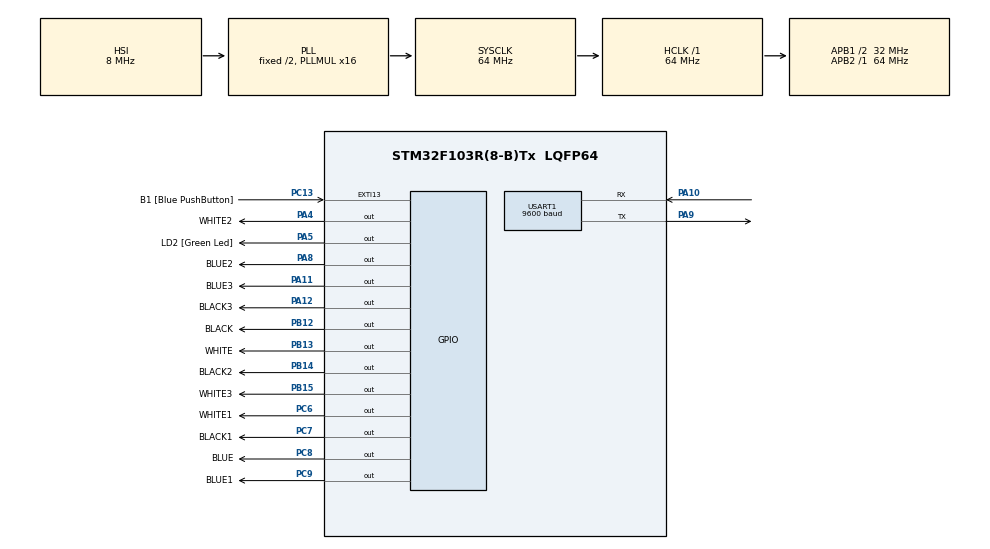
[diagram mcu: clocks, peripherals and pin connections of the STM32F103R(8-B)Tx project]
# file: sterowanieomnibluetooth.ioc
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Mcu.Family=STM32F1
Mcu.Name=STM32F103R(8-B)Tx
Mcu.Package=LQFP64
NVIC.EXTI15_10_IRQn=true\:0\:0\:false\:false\:true\:true\:true\:true
NVIC.PriorityGroup=NVIC_PRIORITYGROUP_4
NVIC.USART1_IRQn=true\:0\:0\:false\:false\:true\:true\:true\:true
PA10.Mode=Asynchronous
PA10.Signal=USART1_RX
PA11.GPIO_Label=BLUE3
PA11.Signal=GPIO_Output
PA12.GPIO_Label=BLACK3
PA12.GPIO_Speed=GPIO_SPEED_FREQ_HIGH
PA12.Signal=GPIO_Output
PA13.GPIO_Label=TMS
PA13.Mode=Serial_Wire
PA13.Signal=SYS_JTMS-SWDIO
PA14.GPIO_Label=TCK
PA14.Mode=Serial_Wire
PA14.Signal=SYS_JTCK-SWCLK
PA4.GPIO_Label=WHITE2
PA4.PinState=GPIO_PIN_SET
PA4.Signal=GPIO_Output
PA5.GPIO_Label=LD2 [Green Led]
PA5.GPIO_ModeDefaultOutputPP=GPIO_MODE_OUTPUT_PP
PA5.GPIO_PuPd=GPIO_NOPULL
PA5.GPIO_Speed=GPIO_SPEED_FREQ_LOW
PA5.Signal=GPIO_Output
PA8.GPIO_Label=BLUE2
PA8.GPIO_Speed=GPIO_SPEED_FREQ_HIGH
PA8.PinState=GPIO_PIN_RESET
PA8.Signal=GPIO_Output
PA9.Mode=Asynchronous
PA9.Signal=USART1_TX
PB12.GPIO_Label=BLACK
PB12.GPIO_Speed=GPIO_SPEED_FREQ_HIGH
PB12.Signal=GPIO_Output
PB13.GPIO_Label=WHITE
PB13.GPIO_Speed=GPIO_SPEED_FREQ_HIGH
PB13.PinState=GPIO_PIN_SET
PB13.Signal=GPIO_Output
PB14.GPIO_Label=BLACK2
PB14.GPIO_Speed=GPIO_SPEED_FREQ_HIGH
PB14.Signal=GPIO_Output
PB15.GPIO_Label=WHITE3
PB15.GPIO_Speed=GPIO_SPEED_FREQ_HIGH
PB15.PinState=GPIO_PIN_SET
PB15.Signal=GPIO_Output
PB3.GPIO_Label=SWO
PB3.Signal=SYS_JTDO-TRACESWO
PC13-TAMPER-RTC.GPIO_Label=B1 [Blue PushButton]
PC13-TAMPER-RTC.GPIO_PuPd=GPIO_NOPULL
PC13-TAMPER-RTC.Signal=GPXTI13
PC14-OSC32_IN.Mode=LSE-External-Oscillator
PC14-OSC32_IN.Signal=RCC_OSC32_IN
PC15-OSC32_OUT.Mode=LSE-External-Oscillator
PC15-OSC32_OUT.Signal=RCC_OSC32_OUT
PC6.GPIO_Label=WHITE1
PC6.GPIO_Speed=GPIO_SPEED_FREQ_HIGH
PC6.PinState=GPIO_PIN_SET
PC6.Signal=GPIO_Output
PC7.GPIO_Label=BLACK1
PC7.GPIO_Speed=GPIO_SPEED_FREQ_HIGH
PC7.PinState=GPIO_PIN_RESET
PC7.Signal=GPIO_Output
PC8.GPIO_Label=BLUE
PC8.GPIO_Speed=GPIO_SPEED_FREQ_HIGH
PC8.Signal=GPIO_Output
PC9.GPIO_Label=BLUE1
PC9.GPIO_Speed=GPIO_SPEED_FREQ_HIGH
PC9.PinState=GPIO_PIN_SET
PC9.Signal=GPIO_Output
PD0-OSC_IN.Mode=HSE-External-Clock-Source
PD0-OSC_IN.Signal=RCC_OSC_IN
PD1-OSC_OUT.Mode=HSE-External-Clock-Source
PD1-OSC_OUT.Signal=RCC_OSC_OUT
ProjectManager.HeapSize=0x200
ProjectManager.StackSize=0x400
ProjectManager.TargetToolchain=STM32CubeIDE
RCC.AHBFreq_Value=64000000
RCC.APB1CLKDivider=RCC_HCLK_DIV2
RCC.APB1Freq_Value=32000000
RCC.APB1TimFreq_Value=64000000
RCC.APB2Freq_Value=64000000
RCC.APB2TimFreq_Value=64000000
RCC.HCLKFreq_Value=64000000
RCC.PLLMUL=RCC_PLL_MUL16
RCC.RTCClockSelection=RCC_RTCCLKSOURCE_LSE
RCC.SYSCLKFreq_VALUE=64000000
RCC.SYSCLKSource=RCC_SYSCLKSOURCE_PLLCLK
RCC.USBFreq_Value=64000000
USART1.BaudRate=9600
USART1.VirtualMode=VM_ASYNC
board=NUCLEO-F103RB

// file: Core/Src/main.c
/* USER CODE BEGIN Header */
/**
  ******************************************************************************
  * @file           : main.c
  * @brief          : Main program body
  ******************************************************************************
  * @attention
  *
  * Copyright (c) 2023 STMicroelectronics.
  * All rights reserved.
  *
  * This software is licensed under terms that can be found in the LICENSE file
  * in the root directory of this software component.
  * If no LICENSE file comes with this software, it is provided AS-IS.
  *
  ******************************************************************************
  */
/* USER CODE END Header */
#include "main.h"

UART_HandleTypeDef huart1;

/* USER CODE BEGIN PV */
uint8_t rxData;
/* USER CODE END PV */

void SystemClock_Config(void);
static void MX_GPIO_Init(void);
static void MX_USART1_UART_Init(void);

int main(void)
{

  /* MCU Configuration--------------------------------------------------------*/

  /* Reset of all peripherals, Initializes the Flash interface and the Systick. */
  HAL_Init();

  /* Configure the system clock */
  SystemClock_Config();

  /* Initialize all configured peripherals */
  MX_GPIO_Init();
  MX_USART1_UART_Init();
  /* USER CODE BEGIN 2 */
  HAL_UART_Receive_IT(&huart1,&rxData,1); // Enabling interrupt receive
  /* USER CODE END 2 */

  /* Infinite loop */
  /* USER CODE BEGIN WHILE */
  while (1)
  {
	 // HAL_GPIO_WritePin(LD2_GPIO_Port, LD2_Pin, GPIO_PIN_SET);
	 // HAL_Delay(300);
	  //HAL_GPIO_WritePin(LD2_GPIO_Port, LD2_Pin, GPIO_PIN_RESET);
	  //HAL_Delay(300);

    /* USER CODE END WHILE */

  }
}

void SystemClock_Config(void)
{
  RCC_OscInitTypeDef RCC_OscInitStruct = {0};
  RCC_ClkInitTypeDef RCC_ClkInitStruct = {0};

  /** Initializes the RCC Oscillators according to the specified parameters
  * in the RCC_OscInitTypeDef structure.
  */
  RCC_OscInitStruct.OscillatorType = RCC_OSCILLATORTYPE_HSI;
  RCC_OscInitStruct.HSIState = RCC_HSI_ON;
  RCC_OscInitStruct.HSICalibrationValue = RCC_HSICALIBRATION_DEFAULT;
  RCC_OscInitStruct.PLL.PLLState = RCC_PLL_ON;
  RCC_OscInitStruct.PLL.PLLSource = RCC_PLLSOURCE_HSI_DIV2;
  RCC_OscInitStruct.PLL.PLLMUL = RCC_PLL_MUL16;
  if (HAL_RCC_OscConfig(&RCC_OscInitStruct) != HAL_OK)
  {
    Error_Handler();
  }

  /** Initializes the CPU, AHB and APB buses clocks
  */
  RCC_ClkInitStruct.ClockType = RCC_CLOCKTYPE_HCLK|RCC_CLOCKTYPE_SYSCLK
                              |RCC_CLOCKTYPE_PCLK1|RCC_CLOCKTYPE_PCLK2;
  RCC_ClkInitStruct.SYSCLKSource = RCC_SYSCLKSOURCE_PLLCLK;
  RCC_ClkInitStruct.AHBCLKDivider = RCC_SYSCLK_DIV1;
  RCC_ClkInitStruct.APB1CLKDivider = RCC_HCLK_DIV2;
  RCC_ClkInitStruct.APB2CLKDivider = RCC_HCLK_DIV1;

  if (HAL_RCC_ClockConfig(&RCC_ClkInitStruct, FLASH_LATENCY_2) != HAL_OK)
  {
    Error_Handler();
  }
}

static void MX_USART1_UART_Init(void)
{

  huart1.Instance = USART1;
  huart1.Init.BaudRate = 9600;
  huart1.Init.WordLength = UART_WORDLENGTH_8B;
  huart1.Init.StopBits = UART_STOPBITS_1;
  huart1.Init.Parity = UART_PARITY_NONE;
  huart1.Init.Mode = UART_MODE_TX_RX;
  huart1.Init.HwFlowCtl = UART_HWCONTROL_NONE;
  huart1.Init.OverSampling = UART_OVERSAMPLING_16;
  if (HAL_UART_Init(&huart1) != HAL_OK)
  {
    Error_Handler();
  }

}

static void MX_GPIO_Init(void)
{
  GPIO_InitTypeDef GPIO_InitStruct = {0};

  /* GPIO Ports Clock Enable */
  __HAL_RCC_GPIOC_CLK_ENABLE();
  __HAL_RCC_GPIOD_CLK_ENABLE();
  __HAL_RCC_GPIOA_CLK_ENABLE();
  __HAL_RCC_GPIOB_CLK_ENABLE();

  /*Configure GPIO pin Output Level */
  HAL_GPIO_WritePin(WHITE2_GPIO_Port, WHITE2_Pin, GPIO_PIN_SET);

  /*Configure GPIO pin Output Level */
  HAL_GPIO_WritePin(GPIOA, LD2_Pin|BLUE2_Pin|BLUE3_Pin|BLACK3_Pin, GPIO_PIN_RESET);

  /*Configure GPIO pin Output Level */
  HAL_GPIO_WritePin(GPIOB, BLACK_Pin|BLACK2_Pin, GPIO_PIN_RESET);

  /*Configure GPIO pin Output Level */
  HAL_GPIO_WritePin(GPIOB, WHITE_Pin|WHITE3_Pin, GPIO_PIN_SET);

  /*Configure GPIO pin Output Level */
  HAL_GPIO_WritePin(GPIOC, WHITE1_Pin|BLUE1_Pin, GPIO_PIN_SET);

  /*Configure GPIO pin Output Level */
  HAL_GPIO_WritePin(GPIOC, BLACK1_Pin|BLUE_Pin, GPIO_PIN_RESET);

  /*Configure GPIO pin : B1_Pin */
  GPIO_InitStruct.Pin = B1_Pin;
  GPIO_InitStruct.Mode = GPIO_MODE_IT_RISING;
  GPIO_InitStruct.Pull = GPIO_NOPULL;
  HAL_GPIO_Init(B1_GPIO_Port, &GPIO_InitStruct);

  /*Configure GPIO pins : WHITE2_Pin LD2_Pin BLUE3_Pin */
  GPIO_InitStruct.Pin = WHITE2_Pin|LD2_Pin|BLUE3_Pin;
  GPIO_InitStruct.Mode = GPIO_MODE_OUTPUT_PP;
  GPIO_InitStruct.Pull = GPIO_NOPULL;
  GPIO_InitStruct.Speed = GPIO_SPEED_FREQ_LOW;
  HAL_GPIO_Init(GPIOA, &GPIO_InitStruct);

  /*Configure GPIO pins : BLACK_Pin WHITE_Pin BLACK2_Pin WHITE3_Pin */
  GPIO_InitStruct.Pin = BLACK_Pin|WHITE_Pin|BLACK2_Pin|WHITE3_Pin;
  GPIO_InitStruct.Mode = GPIO_MODE_OUTPUT_PP;
  GPIO_InitStruct.Pull = GPIO_NOPULL;
  GPIO_InitStruct.Speed = GPIO_SPEED_FREQ_HIGH;
  HAL_GPIO_Init(GPIOB, &GPIO_InitStruct);

  /*Configure GPIO pins : WHITE1_Pin BLACK1_Pin BLUE_Pin BLUE1_Pin */
  GPIO_InitStruct.Pin = WHITE1_Pin|BLACK1_Pin|BLUE_Pin|BLUE1_Pin;
  GPIO_InitStruct.Mode = GPIO_MODE_OUTPUT_PP;
  GPIO_InitStruct.Pull = GPIO_NOPULL;
  GPIO_InitStruct.Speed = GPIO_SPEED_FREQ_HIGH;
  HAL_GPIO_Init(GPIOC, &GPIO_InitStruct);

  /*Configure GPIO pins : BLUE2_Pin BLACK3_Pin */
  GPIO_InitStruct.Pin = BLUE2_Pin|BLACK3_Pin;
  GPIO_InitStruct.Mode = GPIO_MODE_OUTPUT_PP;
  GPIO_InitStruct.Pull = GPIO_NOPULL;
  GPIO_InitStruct.Speed = GPIO_SPEED_FREQ_HIGH;
  HAL_GPIO_Init(GPIOA, &GPIO_InitStruct);

  /* EXTI interrupt init*/
  HAL_NVIC_SetPriority(EXTI15_10_IRQn, 0, 0);
  HAL_NVIC_EnableIRQ(EXTI15_10_IRQn);

}

/* USER CODE BEGIN 4 */
void HAL_UART_RxCpltCallback(UART_HandleTypeDef *huart)
{
  if(huart->Instance==USART1)
  {
    if(rxData==78) // Ascii value of 'N' is 78 BACKRIDE
    {
// front ride
  	  HAL_GPIO_WritePin(BLACK_GPIO_Port, BLACK_Pin, GPIO_PIN_SET);
  	  HAL_GPIO_WritePin(BLUE_GPIO_Port, BLUE_Pin, GPIO_PIN_RESET);
  	HAL_GPIO_WritePin(BLACK1_GPIO_Port, BLACK1_Pin, GPIO_PIN_RESET);
    HAL_GPIO_WritePin(BLUE1_GPIO_Port, BLUE1_Pin, GPIO_PIN_SET);
    HAL_GPIO_WritePin(BLACK2_GPIO_Port, BLACK2_Pin, GPIO_PIN_SET);
      	  HAL_GPIO_WritePin(BLUE2_GPIO_Port, BLUE2_Pin, GPIO_PIN_RESET);
      	HAL_GPIO_WritePin(BLACK3_GPIO_Port, BLACK3_Pin, GPIO_PIN_SET);
        HAL_GPIO_WritePin(BLUE3_GPIO_Port, BLUE3_Pin, GPIO_PIN_RESET);

    }
    else if (rxData==89) // Ascii value of 'Y' is 89 FRONTRIDE
    {//
    	HAL_GPIO_WritePin(BLACK_GPIO_Port, BLACK_Pin, GPIO_PIN_RESET);
    	HAL_GPIO_WritePin(BLUE_GPIO_Port, BLUE_Pin, GPIO_PIN_SET);
    	HAL_GPIO_WritePin(BLACK1_GPIO_Port, BLACK1_Pin, GPIO_PIN_SET);
    	HAL_GPIO_WritePin(BLUE1_GPIO_Port, BLUE1_Pin, GPIO_PIN_RESET);
    	HAL_GPIO_WritePin(BLACK2_GPIO_Port, BLACK2_Pin, GPIO_PIN_RESET);
    	HAL_GPIO_WritePin(BLUE2_GPIO_Port, BLUE2_Pin, GPIO_PIN_SET);
    	HAL_GPIO_WritePin(BLACK3_GPIO_Port, BLACK3_Pin, GPIO_PIN_RESET);
    	HAL_GPIO_WritePin(BLUE3_GPIO_Port, BLUE3_Pin, GPIO_PIN_SET);
    }
    else if (rxData==82) // Ascii value of 'R' is 82 RIGHTRIDE
        {//
        	HAL_GPIO_WritePin(BLACK_GPIO_Port, BLACK_Pin, GPIO_PIN_SET);
        	HAL_GPIO_WritePin(BLUE_GPIO_Port, BLUE_Pin, GPIO_PIN_RESET);
        	HAL_GPIO_WritePin(BLACK1_GPIO_Port, BLACK1_Pin, GPIO_PIN_SET);
        	HAL_GPIO_WritePin(BLUE1_GPIO_Port, BLUE1_Pin, GPIO_PIN_RESET);
        	HAL_GPIO_WritePin(BLACK2_GPIO_Port, BLACK2_Pin, GPIO_PIN_SET);
        	HAL_GPIO_WritePin(BLUE2_GPIO_Port, BLUE2_Pin, GPIO_PIN_RESET);
        	HAL_GPIO_WritePin(BLACK3_GPIO_Port, BLACK3_Pin, GPIO_PIN_RESET);
        	HAL_GPIO_WritePin(BLUE3_GPIO_Port, BLUE3_Pin, GPIO_PIN_SET);
        }
    else if (rxData==76) // Ascii value of 'L' is 76 LEFTRIDE
          {//
          	HAL_GPIO_WritePin(BLACK_GPIO_Port, BLACK_Pin, GPIO_PIN_RESET);
          	HAL_GPIO_WritePin(BLUE_GPIO_Port, BLUE_Pin, GPIO_PIN_SET);
          	HAL_GPIO_WritePin(BLACK1_GPIO_Port, BLACK1_Pin, GPIO_PIN_RESET);
          	HAL_GPIO_WritePin(BLUE1_GPIO_Port, BLUE1_Pin, GPIO_PIN_SET);
          	HAL_GPIO_WritePin(BLACK2_GPIO_Port, BLACK2_Pin, GPIO_PIN_RESET);
          	HAL_GPIO_WritePin(BLUE2_GPIO_Port, BLUE2_Pin, GPIO_PIN_SET);
          	HAL_GPIO_WritePin(BLACK3_GPIO_Port, BLACK3_Pin, GPIO_PIN_SET);
          	HAL_GPIO_WritePin(BLUE3_GPIO_Port, BLUE3_Pin, GPIO_PIN_RESET);
          }
    else if (rxData==48) // Ascii value of '0' is 76 STOP
            {//
            	HAL_GPIO_WritePin(BLACK_GPIO_Port, BLACK_Pin, GPIO_PIN_RESET);
            	HAL_GPIO_WritePin(BLUE_GPIO_Port, BLUE_Pin, GPIO_PIN_RESET);
            	HAL_GPIO_WritePin(BLACK1_GPIO_Port, BLACK1_Pin, GPIO_PIN_RESET);
            	HAL_GPIO_WritePin(BLUE1_GPIO_Port, BLUE1_Pin, GPIO_PIN_RESET);
            	HAL_GPIO_WritePin(BLACK2_GPIO_Port, BLACK2_Pin, GPIO_PIN_RESET);
            	HAL_GPIO_WritePin(BLUE2_GPIO_Port, BLUE2_Pin, GPIO_PIN_RESET);
            	HAL_GPIO_WritePin(BLACK3_GPIO_Port, BLACK3_Pin, GPIO_PIN_RESET);
            	HAL_GPIO_WritePin(BLUE3_GPIO_Port, BLUE3_Pin, GPIO_PIN_RESET);
            }
    HAL_UART_Receive_IT(&huart1,&rxData,1); // Enabling interrupt receive again
  }
}
/* USER CODE END 4 */

void Error_Handler(void)
{
  __disable_irq();
  while (1)
  {
  }
}
